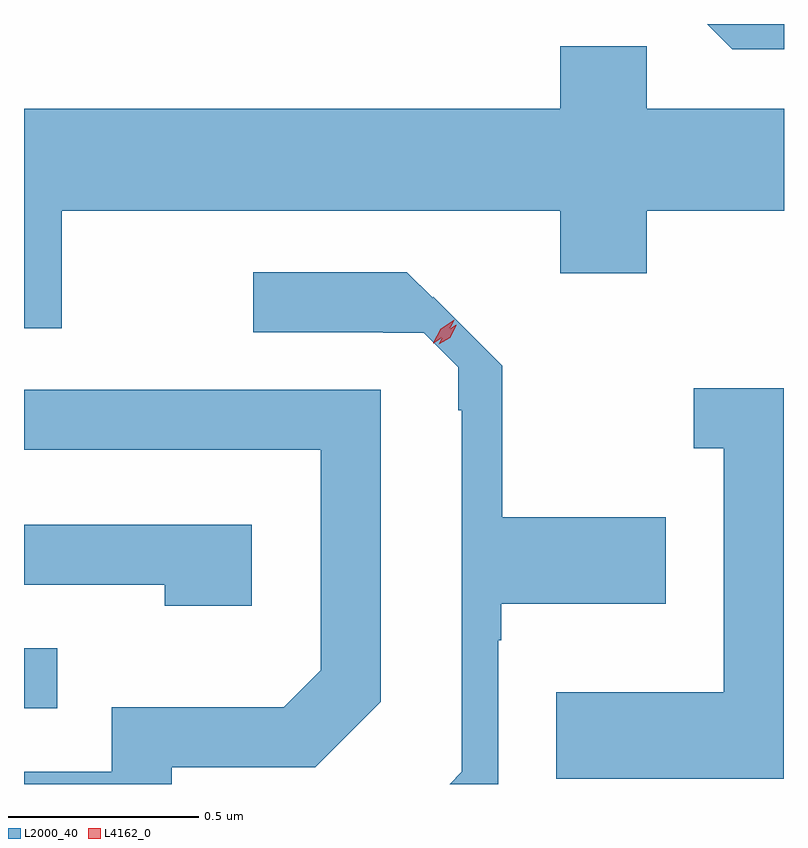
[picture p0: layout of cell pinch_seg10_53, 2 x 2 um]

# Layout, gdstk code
import gdstk
lib = gdstk.Library(unit=1e-6, precision=1e-09)
def R(c, l, rs):  # rectangles x0, y0, x1, y1
    for r in rs: c.add(gdstk.rectangle(r[:2], r[2:], *l))
def P(c, l, *ps):  # polygons
    for p in ps: c.add(gdstk.Polygon(p, *l))
L2000_40 = (2000, 40)
L4162_0 = (4162, 0)

pinch_seg10_53 = lib.new_cell('pinch_seg10_53')
R(pinch_seg10_53, L2000_40, [(596.98,2174.766,597.068,2174.924)])
P(pinch_seg10_53, L2000_40, [(598.98,2176.567),(598.778,2176.567),(598.844,2176.501),(598.98,2176.501)],
  [(597.079,2176.076),(598.391,2176.076),(598.391,2175.911),(598.619,2175.911),(598.619,2176.076),(598.98,2176.076),(598.98,2176.344),(598.619,2176.344),(598.619,2176.509),(598.391,2176.509),(598.391,2176.344),(596.98,2176.344),(596.98,2175.766),(597.079,2175.766)],
  [(598.228,2174.945),(598.236,2174.945),(598.236,2175.041),(598.669,2175.041),(598.669,2175.269),(598.238,2175.269),(598.238,2175.668),(598.057,2175.849),(598.055,2175.846),(597.987,2175.914),(597.583,2175.914),(597.583,2175.756),(597.926,2175.756),(597.926,2175.754),(598.032,2175.754),(598.123,2175.664),(598.123,2175.551),(598.132,2175.551),(598.132,2174.599),(598.1,2174.567),(598.228,2174.567)],
  [(598.979,2175.609),(598.743,2175.609),(598.743,2175.451),(598.821,2175.451),(598.821,2174.809),(598.381,2174.809),(598.381,2174.581),(598.979,2174.581)],
  [(597.369,2174.611),(597.747,2174.611),(597.919,2174.784),(597.919,2175.604),(596.98,2175.604),(596.98,2175.446),(597.761,2175.446),(597.761,2174.867),(597.664,2174.769),(597.211,2174.769),(597.211,2174.599),(596.98,2174.599),(596.98,2174.567),(597.369,2174.567)],
  [(597.579,2175.249),(596.98,2175.249),(596.98,2175.091),(597.351,2175.091),(597.351,2175.036),(597.579,2175.036)])
P(pinch_seg10_53, L4162_0, [(598.072,2175.724),(598.072,2175.724),(598.087,2175.756),(598.117,2175.775),(598.118,2175.775),(598.118,2175.774),(598.102,2175.742),(598.072,2175.724)],
  [(598.057,2175.727),(598.057,2175.728),(598.077,2175.765),(598.112,2175.789),(598.112,2175.789),(598.112,2175.788),(598.092,2175.751),(598.058,2175.727)])

lib.write_gds('pinch_seg10_53.gds')
